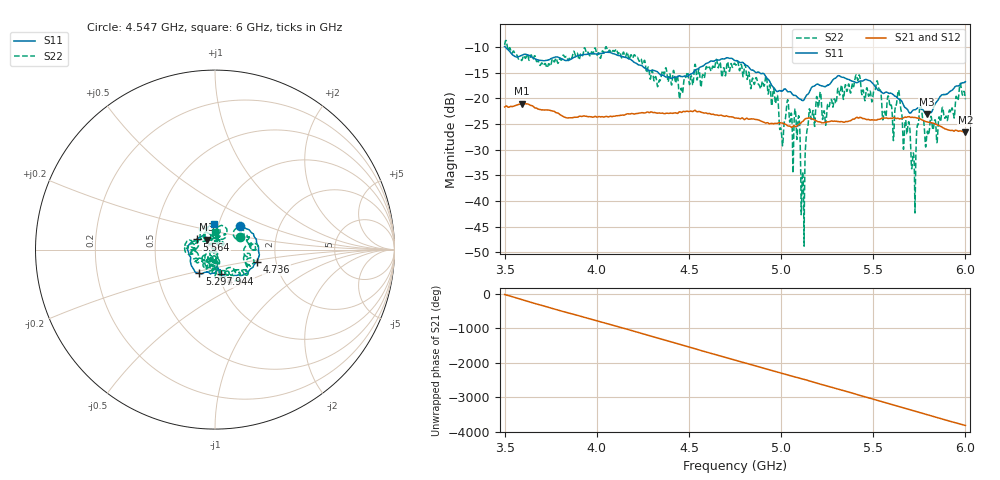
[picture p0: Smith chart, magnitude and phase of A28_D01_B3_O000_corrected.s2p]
! Created with skrf 1.9.0 (http://scikit-rf.org).
# Hz S RI R 50.0
!freq ReS11 ImS11 ReS21 ImS21 ReS12 ImS12 ReS22 ImS22
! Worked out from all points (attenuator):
!   1601 points, 3.5 GHz to 6 GHz, reference 50 ohm
!   highest |S21| = -21.01 dB at 3.592 GHz (marker M1); lowest = -26.6 dB at 6 GHz (marker M2)
!   lowest |S11| = -23.1 dB at 5.791 GHz (marker M3), VSWR 1.15, Z = 45.6 + j5.05 ohm
!   |S11| at or under -10 dB: 3.504 GHz to end of sweep
!   |S22| runs from -48.8 to -8.7 dB; largest |S21 - S12| = 0.0013
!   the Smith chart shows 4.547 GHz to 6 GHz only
!   S11 on the Smith chart (normalised r, x): 4.547 GHz: 1.28, +0.35; 4.736 GHz: 1.59, -0.23; 4.944 GHz: 1.03, -0.28; 5.297 GHz: 0.81, -0.22; 5.564 GHz: 0.82, +0.09; 6 GHz: 0.95, +0.28
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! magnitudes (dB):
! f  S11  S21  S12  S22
! 3.5 GHz  -9.9  -21.7  -21.7  -9.6
! 3.592 GHz  -11.6  -21.0  -21.0  -12.6
! 3.917 GHz  -11.6  -23.5  -23.5  -11.3
! 4.334 GHz  -15.0  -22.9  -22.8  -17.1
! 4.547 GHz  -14.3  -22.6  -22.6  -16.0
! 4.736 GHz  -12.3  -23.6  -23.7  -13.9
! 4.75 GHz  -12.6  -23.8  -23.8  -13.3
! 4.944 GHz  -17.1  -24.9  -24.9  -18.9
! 5.003 GHz  -18.6  -24.8  -24.8  -27.2
! 5.088 GHz  -19.7  -25.3  -25.3  -27.4
! 5.117 GHz  -20.5  -24.5  -24.5  -34.3
! 5.145 GHz  -19.2  -23.9  -23.8  -25.4
! 5.167 GHz  -17.8  -24.0  -24.0  -23.8
! 5.297 GHz  -16.0  -24.5  -24.4  -20.9
! 5.416 GHz  -16.9  -23.7  -23.8  -16.5
! 5.564 GHz  -18.9  -23.8  -23.8  -22.9
! 5.584 GHz  -19.0  -23.9  -23.9  -19.9
! 5.642 GHz  -20.2  -24.0  -24.0  -19.4
! 5.717 GHz  -22.3  -23.7  -23.7  -30.6
! 5.752 GHz  -21.9  -23.9  -23.9  -21.7
! 5.791 GHz  -23.1  -24.6  -24.5  -27.0
! 6 GHz  -16.7  -26.6  -26.5  -20.2
